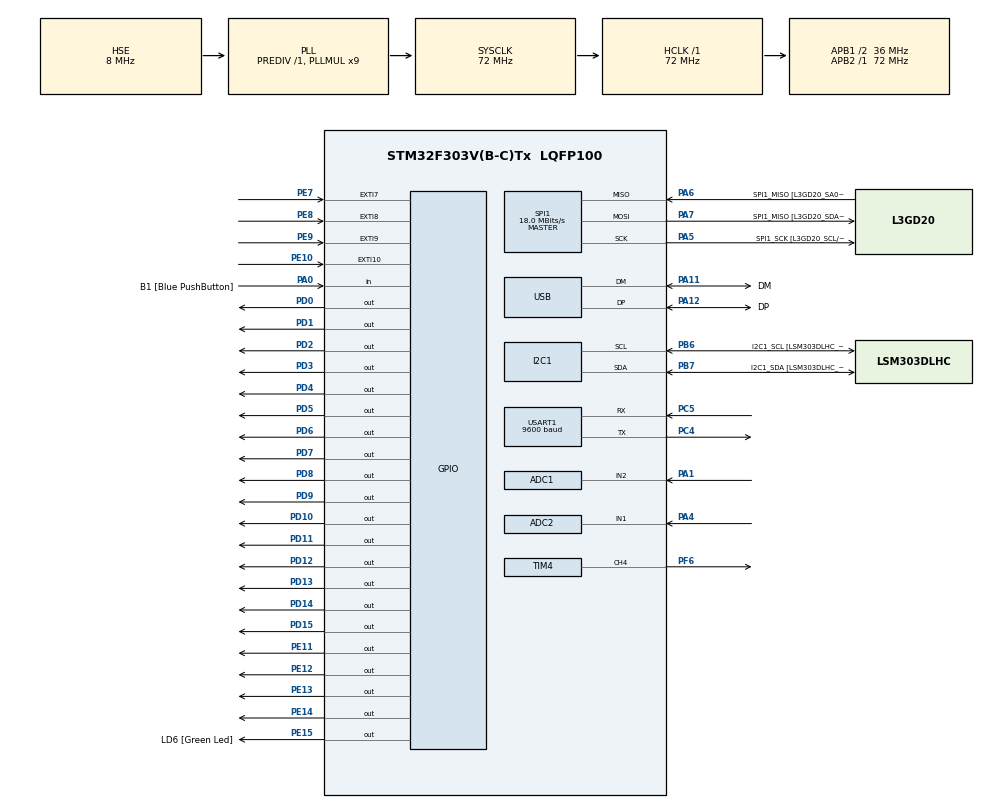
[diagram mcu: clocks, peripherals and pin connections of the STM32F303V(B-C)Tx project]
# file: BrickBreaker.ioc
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ADC1.Channel-0\#ChannelRegularConversion=ADC_CHANNEL_2
ADC1.ClockPrescaler=ADC_CLOCK_SYNC_PCLK_DIV2
ADC1.NbrOfConversionFlag=1
ADC1.Offset-0\#ChannelRegularConversion=0
ADC1.OffsetNumber-0\#ChannelRegularConversion=ADC_OFFSET_NONE
ADC1.Rank-0\#ChannelRegularConversion=1
ADC1.SamplingTime-0\#ChannelRegularConversion=ADC_SAMPLETIME_181CYCLES_5
ADC1.master=1
ADC2.Channel-0\#ChannelRegularConversion=ADC_CHANNEL_1
ADC2.ClockPrescaler=ADC_CLOCK_SYNC_PCLK_DIV2
ADC2.NbrOfConversionFlag=1
ADC2.Offset-0\#ChannelRegularConversion=0
ADC2.OffsetNumber-0\#ChannelRegularConversion=ADC_OFFSET_NONE
ADC2.Rank-0\#ChannelRegularConversion=1
ADC2.SamplingTime-0\#ChannelRegularConversion=ADC_SAMPLETIME_181CYCLES_5
I2C1.Timing-I2C=0x2000090E
Mcu.Family=STM32F3
Mcu.Name=STM32F303V(B-C)Tx
Mcu.Package=LQFP100
NVIC.ADC1_2_IRQn=true\:0\:0\:false\:false\:true\:true\:true\:true
NVIC.EXTI15_10_IRQn=true\:0\:0\:false\:false\:true\:true\:true\:true
NVIC.EXTI9_5_IRQn=true\:0\:0\:false\:false\:true\:true\:true\:true
NVIC.PriorityGroup=NVIC_PRIORITYGROUP_0
NVIC.TIM1_UP_TIM16_IRQn=true\:0\:0\:false\:false\:true\:true\:true\:true
NVIC.TIM2_IRQn=true\:0\:0\:false\:false\:true\:true\:true\:true
NVIC.TIM3_IRQn=true\:0\:0\:false\:false\:true\:true\:true\:true
NVIC.USART1_IRQn=true\:0\:0\:false\:false\:true\:true\:true\:true
PA0.GPIO_Label=B1 [Blue PushButton]
PA0.Signal=GPIO_Input
PA1.Mode=IN2-Single-Ended
PA1.Signal=ADC1_IN2
PA11.GPIO_Label=DM
PA11.Mode=Device
PA11.Signal=USB_DM
PA12.GPIO_Label=DP
PA12.Mode=Device
PA12.Signal=USB_DP
PA13.GPIO_Label=SWDIO
PA13.Mode=Serial_Wire
PA13.Signal=SYS_JTMS-SWDIO
PA14.GPIO_Label=SWCLK
PA14.Mode=Serial_Wire
PA14.Signal=SYS_JTCK-SWCLK
PA4.Mode=IN1-Single-Ended
PA4.Signal=ADC2_IN1
PA5.GPIO_Label=SPI1_SCK [L3GD20_SCL/SPC]
PA5.Mode=Full_Duplex_Master
PA5.Signal=SPI1_SCK
PA6.GPIO_Label=SPI1_MISO [L3GD20_SA0/SDO]
PA6.Mode=Full_Duplex_Master
PA6.Signal=SPI1_MISO
PA7.GPIO_Label=SPI1_MISO [L3GD20_SDA/SDI/SDO]
PA7.Mode=Full_Duplex_Master
PA7.Signal=SPI1_MOSI
PB3.GPIO_Label=SWO
PB3.Signal=SYS_JTDO-TRACESWO
PB6.GPIO_Label=I2C1_SCL [LSM303DLHC_SCL]
PB6.GPIO_Pu=GPIO_PULLUP
PB6.Mode=I2C
PB6.Signal=I2C1_SCL
PB7.GPIO_Label=I2C1_SDA [LSM303DLHC_SDA]
PB7.GPIO_Pu=GPIO_PULLUP
PB7.Mode=I2C
PB7.Signal=I2C1_SDA
PC14-OSC32_IN.GPIO_Label=OSC32_IN
PC14-OSC32_IN.Signal=RCC_OSC32_IN
PC15-OSC32_OUT.GPIO_Label=OSC32_OUT
PC15-OSC32_OUT.Signal=RCC_OSC32_OUT
PC4.Mode=Asynchronous
PC4.Signal=USART1_TX
PC5.Mode=Asynchronous
PC5.Signal=USART1_RX
PD0.Signal=GPIO_Output
PD1.Signal=GPIO_Output
PD10.Signal=GPIO_Output
PD11.Signal=GPIO_Output
PD12.Signal=GPIO_Output
PD13.Signal=GPIO_Output
PD14.Signal=GPIO_Output
PD15.Signal=GPIO_Output
PD2.Signal=GPIO_Output
PD3.Signal=GPIO_Output
PD4.Signal=GPIO_Output
PD5.Signal=GPIO_Output
PD6.Signal=GPIO_Output
PD7.Signal=GPIO_Output
PD8.Signal=GPIO_Output
PD9.Signal=GPIO_Output
PE10.GPIO_PuPd=GPIO_PULLDOWN
PE10.Signal=GPXTI10
PE11.Signal=GPIO_Output
PE12.Signal=GPIO_Output
PE13.Signal=GPIO_Output
PE14.Signal=GPIO_Output
PE15.GPIO_Label=LD6 [Green Led]
PE15.Signal=GPIO_Output
PE7.GPIO_PuPd=GPIO_PULLDOWN
PE7.Signal=GPXTI7
PE8.GPIO_PuPd=GPIO_PULLDOWN
PE8.Signal=GPXTI8
PE9.GPIO_PuPd=GPIO_PULLDOWN
PE9.Signal=GPXTI9
PF0-OSC_IN.GPIO_Label=OSC_IN
PF0-OSC_IN.Mode=HSE-External-Clock-Source
PF0-OSC_IN.Signal=RCC_OSC_IN
PF1-OSC_OUT.GPIO_Label=OSC_OUT
PF1-OSC_OUT.Signal=RCC_OSC_OUT
PF6.Signal=S_TIM4_CH4
ProjectManager.HeapSize=0x200
ProjectManager.StackSize=0x400
ProjectManager.TargetToolchain=STM32CubeIDE
RCC.AHBFreq_Value=72000000
RCC.APB1CLKDivider=RCC_HCLK_DIV2
RCC.APB1Freq_Value=36000000
RCC.APB1TimFreq_Value=72000000
RCC.APB2Freq_Value=72000000
RCC.APB2TimFreq_Value=72000000
RCC.CortexFreq_Value=72000000
RCC.HCLKFreq_Value=72000000
RCC.HSE_VALUE=8000000
RCC.HSI_VALUE=8000000
RCC.LSE_VALUE=32768
RCC.PLLMUL=RCC_PLL_MUL9
RCC.PRESCALERUSB=RCC_USBCLKSOURCE_PLL_DIV1_5
RCC.SYSCLKFreq_VALUE=72000000
RCC.SYSCLKSourceVirtual=RCC_SYSCLKSOURCE_PLLCLK
RCC.USBFreq_Value=48000000
RTC.AsynchPrediv=40-1
RTC.SynchPrediv=1000-1
SH.S_TIM4_CH4.0=TIM4_CH4,PWM Generation4 CH4
SPI1.BaudRatePrescaler=SPI_BAUDRATEPRESCALER_4
SPI1.BaudRatePrescaler-Full_Duplex_Master=SPI_BAUDRATEPRESCALER_2
SPI1.CalculateBaudRate=18.0 MBits/s
SPI1.CalculateBaudRate-Full_Duplex_Master=24.0 MBits/s
SPI1.Direction=SPI_DIRECTION_2LINES
SPI1.Mode=SPI_MODE_MASTER
SPI1.Mode-Full_Duplex_Master=SPI_MODE_MASTER
SPI1.VirtualType=VM_MASTER
TIM1.Period=100-1
TIM1.Prescaler=720-1
TIM2.Period=500-1
TIM2.Prescaler=720-1
TIM3.Period=1000-1
TIM3.Prescaler=720-1
TIM4.Channel-PWM\ Generation4\ CH4=TIM_CHANNEL_4
TIM4.Period=10-1
TIM4.Prescaler=720-1
USART1.BaudRate=9600
USART1.VirtualMode-Asynchronous=VM_ASYNC
VP_RTC_VS_RTC_Activate.Mode=RTC_Enabled
VP_RTC_VS_RTC_Calendar.Mode=RTC_Calendar
VP_TIM1_VS_ClockSourceINT.Mode=Internal
VP_TIM2_VS_ClockSourceINT.Mode=Internal
VP_TIM3_VS_ClockSourceINT.Mode=Internal
VP_TIM4_VS_ClockSourceINT.Mode=Internal
board=STM32F3DISCOVERY

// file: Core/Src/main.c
/* USER CODE BEGIN Header */
/**
  ******************************************************************************
  * @file           : main.c
  * @brief          : Main program body
  ******************************************************************************
  * @attention
  *
  * Copyright (c) 2025 STMicroelectronics.
  * All rights reserved.
  *
  * This software is licensed under terms that can be found in the LICENSE file
  * in the root directory of this software component.
  * If no LICENSE file comes with this software, it is provided AS-IS.
  *
  ******************************************************************************
  */
/* USER CODE END Header */
#include "main.h"

/* USER CODE BEGIN Includes */
#include "LiquidCrystal.h"

#include <string.h>

#include "game_loop.h"
#include "config.h"

#include "view_main_menu.h"
#include "view_exit_game.h"
#include "view_start.h"
#include "view_about.h"
#include "view_settings.h"
#include "view_user.h"

#include "rtc.h"
#include "sevseg.h"
#include "music.h"
/* USER CODE END Includes */

/* USER CODE BEGIN PTD */

typedef enum {
	PADDLE_MOVEMENT_KEYPAD,
	PADDLE_MOVEMENT_VOLUME
}Paddle_Movement_State;

/* USER CODE END PTD */

/* USER CODE BEGIN PD */

#define BUFFER_SIZE 100

/* USER CODE END PD */

ADC_HandleTypeDef hadc1;
ADC_HandleTypeDef hadc2;

I2C_HandleTypeDef hi2c1;

RTC_HandleTypeDef hrtc;

SPI_HandleTypeDef hspi1;

TIM_HandleTypeDef htim1;
TIM_HandleTypeDef htim2;
TIM_HandleTypeDef htim3;
TIM_HandleTypeDef htim4;

UART_HandleTypeDef huart1;

PCD_HandleTypeDef hpcd_USB_FS;

void SystemClock_Config(void);
static void MX_GPIO_Init(void);
static void MX_I2C1_Init(void);
static void MX_SPI1_Init(void);
static void MX_USB_PCD_Init(void);
static void MX_USART1_UART_Init(void);
static void MX_ADC1_Init(void);
static void MX_RTC_Init(void);
static void MX_ADC2_Init(void);
static void MX_TIM1_Init(void);
static void MX_TIM4_Init(void);
static void MX_TIM2_Init(void);
static void MX_TIM3_Init(void);

/* USER CODE BEGIN 0 */

//////////////////////////////////////// Global Vars & Functions

Main_State tmp_state, main_state = MS_START_PROGRAM;
Settings_State settings_state = NO_SELECTED_ITEM;
Paddle_Movement_State paddle_movement_state = PADDLE_MOVEMENT_KEYPAD;

char curr_user[12];

int8_t new_menu_index = 0, menu_index = 0;

Paddle *tmp_paddle;

uint32_t max_vol = 4050;
uint32_t min_vol = 0;
uint32_t vol = 0;

/////////////////////////////////////// 7_Seg

void sev_seg_callback(int index, char text[]) {
	Game_Info *tmp = get_game_info();
	sprintf(text, "%03d%d", tmp->score, tmp->health);

	if (index == 2) {
		setFloatingPoint();
	} else {
		resetFloatingPoint();
	}
}

/////////////////////////////////////// UART

uint8_t received_char;
uint8_t uart_buffer[BUFFER_SIZE + 1];

int str_starts_with(uint8_t *str, char *prefix) {
	if (str == NULL || prefix == NULL) {
			return false; // Handle NULL inputs
	}

	while (*prefix != '\0' && *str == *prefix) {
			str++;
			prefix++;
	}

	return *prefix == '\0';
}

void uart_command_handler(uint8_t buffer[]) {
	if (str_starts_with(buffer, "Connect")) {
		tmp_state = main_state;
		main_state = MS_REQUEST_RTC;

	} else if (str_starts_with(buffer, "RTC-")) {
		rtc_set_time_date(&(buffer[4]));
		main_state = MS_REQUEST_CONFIG;

	} else if (str_starts_with(buffer, "CONFIG-")) {
		config_load(&(buffer[7]));

	} else {
		switch(main_state) {
			case MS_START_PROGRAM_VIEW:
				strcpy(curr_user, buffer);
				curr_user[strlen(curr_user)-1] = 0;
				main_state = MS_MAIN_MENU;
				break;
		}
	}
}

void HAL_UART_RxCpltCallback(UART_HandleTypeDef *huart)
{

	static int last_char_index = 0;

	if (huart->Instance == USART1)
	{
		if (received_char == '\n') {
			uart_buffer[last_char_index] = '\0';

			uart_command_handler(uart_buffer);

			last_char_index = 0;

		} else if (last_char_index < BUFFER_SIZE) {
			uart_buffer[last_char_index++] = received_char;
		}

		HAL_UART_Receive_IT(&huart1, &received_char, 1);
	}
}

/////////////////////////////////////// ADC

void HAL_ADC_ConvCpltCallback(ADC_HandleTypeDef *hadc)
{
	if (hadc->Instance == ADC2)
	{
		vol = HAL_ADC_GetValue(&hadc2);

		HAL_ADC_Start_IT(&hadc2);
	}
}

//////////////////////////////////////// Timers

void HAL_TIM_PeriodElapsedCallback(TIM_HandleTypeDef *htim)
{
	if (htim->Instance == TIM1) { // 1ms
		playing();

	} else if (htim->Instance == TIM2) { // 5ms
		if (main_state == MS_GAME_LOOP) {
			show_text(sev_seg_callback);
		}

	} else if (htim->Instance == TIM3) { // 100ms
//		char stmp[6];
//		snprintf(stmp, 6, "%u\n", vol);
//		HAL_UART_Transmit(&huart1, stmp, strlen(stmp), 50);

		if (main_state == MS_GAME_LOOP && paddle_movement_state == PADDLE_MOVEMENT_VOLUME) {
			main_state = MS_PADDLE_MOVE_VOLUME;
		}
	}
}

//////////////////////////////////////// EXTI

void enter_btn_clicked() {
	noCursor();
	switch(main_state) {
		case MS_MAIN_MENU_VIEW:
			main_state = get_main_menu_curr_item();
			break;
		case MS_SETTINGS:
			if (settings_state == NO_SELECTED_ITEM) {
				settings_state = HAS_SELECTED_ITEM;
			} else {
				settings_state = NO_SELECTED_ITEM;
			}
			break;

		case MS_EXIT_MENU_VIEW:
			if (menu_index == 1) {
				main_state = MS_RESTART_CLICKED;
			} else {
				main_state = MS_EXIT_CLICKED;
			}
	}
}

void back_btn_clicked() {
	noCursor();
	switch(main_state) {
		case MS_SETTINGS:
			if (settings_state == NO_SELECTED_ITEM) {
				main_state = MS_MAIN_MENU;
			}
			break;
		case MS_ABOUT:
			main_state = MS_MAIN_MENU;
			break;
		case MS_GAME_LOOP:
			pause_music();
			clear7seg();
			main_state = MS_MAIN_MENU;
			set_main_menu_items_state(MAIN_MENU_ITEMS_FULL);
			break;
		default:
			main_state = MS_MAIN_MENU;
	}
}

/*
 * 1:  menu-up
 * 5:  menu_down
 * 9:  back
 * 13: enter
 *
 * 2: increase value
 * 6: decrease
 *
 * 14: change paddle movement tool
 * 15: paddle left
 * 16: paddle right
 */

void keypad_handler(unsigned int key_num) {
	switch (key_num) {
		case 1:
			new_menu_index = menu_index - 1;

			tmp_state = main_state;
			main_state = MS_NEW_MENU_INDEX;
			break;
		case 2:
			if (settings_state == HAS_SELECTED_ITEM) {
				if (menu_index == 0) {
					config_setInitialHealth(config_getInitialHealth() + 1);
				} else {
					config_setBrickRows(config_getBrickRows() + 1);
				}
			}
			break;
		case 3:
			break;
		case 4:
			break;
		case 5:
			new_menu_index = menu_index + 1;

			tmp_state = main_state;
			main_state = MS_NEW_MENU_INDEX;
			break;
		case 6:
			if (settings_state == HAS_SELECTED_ITEM) {
				if (menu_index == 0) {
					config_setInitialHealth(config_getInitialHealth() - 1);
				} else {
					config_setBrickRows(config_getBrickRows() - 1);
				}
			}
			break;
		case 7:
			break;
		case 8:
			break;
		case 9:
			tmp_state = main_state;
			main_state = MS_BACK_CLICKED;
			break;
		case 10:
			break;
		case 11:
			break;
		case 12:
			break;
		case 13:
			tmp_state = main_state;
			main_state = MS_ENTER_CLICKED;
			break;
		case 14:
			if (main_state == MS_GAME_LOOP) {
				if (paddle_movement_state == PADDLE_MOVEMENT_KEYPAD) {
					paddle_movement_state = PADDLE_MOVEMENT_VOLUME;
				} else {
					paddle_movement_state = PADDLE_MOVEMENT_KEYPAD;
				}
			}
			break;
		case 15:
			if (main_state == MS_GAME_LOOP && paddle_movement_state == PADDLE_MOVEMENT_KEYPAD) {
				main_state = MS_PADDLE_MOVE_LEFT;
			}
			break;
		case 16:
			if (main_state == MS_GAME_LOOP && paddle_movement_state == PADDLE_MOVEMENT_KEYPAD) {
				main_state = MS_PADDLE_MOVE_RIGHT;
			}
			break;
	}
}

void HAL_GPIO_EXTI_Callback(uint16_t GPIO_Pin)
{
    keypad_EXTI_callback(GPIO_Pin, keypad_handler);
}

/* USER CODE END 0 */

int main(void)
{

  /* MCU Configuration--------------------------------------------------------*/

  /* Reset of all peripherals, Initializes the Flash interface and the Systick. */
  HAL_Init();

  /* Configure the system clock */
  SystemClock_Config();

  /* Initialize all configured peripherals */
  MX_GPIO_Init();
  MX_I2C1_Init();
  MX_SPI1_Init();
  MX_USB_PCD_Init();
  MX_USART1_UART_Init();
  MX_ADC1_Init();
  MX_RTC_Init();
  MX_ADC2_Init();
  MX_TIM1_Init();
  MX_TIM4_Init();
  MX_TIM2_Init();
  MX_TIM3_Init();
  /* USER CODE BEGIN 2 */

  HAL_ADC_Start(&hadc1);
  HAL_ADC_PollForConversion(&hadc1, 10);
  srand(HAL_ADC_GetValue(&hadc1));

  HAL_ADC_Start_IT(&hadc2);

  HAL_TIM_PWM_Start(&htim4, TIM_CHANNEL_4);

  HAL_TIM_Base_Start_IT(&htim1);
  HAL_TIM_Base_Start_IT(&htim2);
  HAL_TIM_Base_Start_IT(&htim3);

  HAL_UART_Receive_IT(&huart1, &received_char, 1);

  LiquidCrystal(GPIOD, GPIO_PIN_0, GPIO_PIN_1, GPIO_PIN_2, GPIO_PIN_3, GPIO_PIN_4, GPIO_PIN_5, GPIO_PIN_6);

  rtc_init(&hrtc, &huart1);
  config_init(&huart1);
  init_music(&htim4);
  createChars();
  setCursor(0, 0);
  setup_keypad();

  set_new_music_str("A4:200/B4:200");
//  MorSahar: "G3:1000/C4:550/REST:50/C4:550/REST:50/C4:750/REST:50/C4:600/A3:500/B3:1000/C4:1000"

  get_game_info()->max_score = 0;

  char stmp[5];

  /* USER CODE END 2 */

  /* Infinite loop */
  while (1) {

    /* USER CODE BEGIN 3 */

  	switch(main_state) {
  		case MS_START_PROGRAM:
  			show_start();
  			main_state = MS_START_PROGRAM_VIEW;
  			break;

  			// ------------------

  		case MS_MAIN_MENU:
  			view_main_menu_show(curr_user);
  			menu_index = 0;
  			main_state = MS_MAIN_MENU_VIEW;
  			break;
  		case MS_MAIN_MENU_VIEW:
  			menu_index = view_main_menu_handler(menu_index);
  			break;

  		case MS_USER_CLICKED:
  			menu_index = 0;
  			view_user_show(curr_user, get_game_info()->max_score);
  			main_state = MS_USER;
  			break;
  		case MS_USER:
  			view_user_handler(menu_index);
  			break;

  		case MS_RESUME_CLICKED:
  			game_elements_draw();
  			main_state = MS_GAME_TIMER;
  			break;

  		case MS_START_GAME_CLICKED:
  			game_elements_init(-1, -1);
  			game_elements_draw();
  			main_state = MS_GAME_TIMER;
  			break;

  		case MS_SETTINGS_CLICKED:
  			menu_index = 0;
  			view_settings_show();
  			main_state = MS_SETTINGS;
  			break;
  		case MS_SETTINGS:
  			menu_index = view_settings_handler(menu_index, settings_state);
  			break;

  		case MS_ABOUT_CLICKED:
  			menu_index = 0;
  			view_about_show();
  			main_state = MS_ABOUT;
  			break;
  		case MS_ABOUT:
  			view_about_handler(menu_index);
  			break;

  		// ----------------

  		case MS_GAME_LOOP:
  			if (game_loop() != GAME_RESUME) {
  				pause_music();
  				clear7seg();
  				main_state = MS_EXIT_MENU;

  				if (get_game_info()->score > get_game_info()->max_score) {
  					get_game_info()->max_score = get_game_info()->score;
					}
  			}
  			break;

  		case MS_PADDLE_MOVE_LEFT:
				tmp_paddle = get_game_paddle();
				paddle_update(tmp_paddle, tmp_paddle->x - 1, 0, 3);

				main_state = MS_GAME_LOOP;
  			break;
  		case MS_PADDLE_MOVE_RIGHT:
				tmp_paddle = get_game_paddle();
				paddle_update(tmp_paddle, tmp_paddle->x + 1, 0, 3);

				main_state = MS_GAME_LOOP;
  			break;

  		case MS_PADDLE_MOVE_VOLUME:
//  			snprintf(stmp, 5, "%u\n", vol);
//  			HAL_UART_Transmit(&huart1, stmp, strlen(stmp), 50);
  			paddle_update(get_game_paddle(), vol, 0, 3200);

  			main_state = MS_GAME_LOOP;
  			break;

  		// ----------------

  		case MS_EXIT_MENU:
  			view_exit_game_show(get_game_info()->score);
  			main_state = MS_EXIT_MENU_VIEW;
  			menu_index = 1;
  			break;
  		case MS_EXIT_MENU_VIEW:
  			menu_index = view_exit_game_handler(menu_index);
  			break;

  		case MS_RESTART_CLICKED:
  			main_state = MS_START_GAME_CLICKED;
  			break;
  		case MS_EXIT_CLICKED:
  			set_main_menu_items_state(MAIN_MENU_ITEMS_WITHOUT_RESUME);
  			main_state = MS_MAIN_MENU;
  			break;

  		// ----------------

  		case MS_NEW_MENU_INDEX:
  			menu_index = new_menu_index;
  			main_state = tmp_state;
  			break;
  		case MS_ENTER_CLICKED:
  			main_state = tmp_state;
  			enter_btn_clicked();
  			break;
  		case MS_BACK_CLICKED:
  			main_state = tmp_state;
  			back_btn_clicked();
  			break;

  		case MS_REQUEST_RTC:
  			main_state = MS_PENDING;
  			rtc_request_uart();
  			break;
  		case MS_REQUEST_CONFIG:
  			main_state = tmp_state;
  			config_request_uart();
  			break;
  		case MS_PENDING:
  			break;
  		case MS_GAME_TIMER:
  			if (start_game_timer()) {
  				main_state = MS_GAME_LOOP;
  			}
  			break;
  	}

  }
  /* USER CODE END 3 */
}

void SystemClock_Config(void)
{
  RCC_OscInitTypeDef RCC_OscInitStruct = {0};
  RCC_ClkInitTypeDef RCC_ClkInitStruct = {0};
  RCC_PeriphCLKInitTypeDef PeriphClkInit = {0};

  /** Initializes the RCC Oscillators according to the specified parameters
  * in the RCC_OscInitTypeDef structure.
  */
  RCC_OscInitStruct.OscillatorType = RCC_OSCILLATORTYPE_HSI|RCC_OSCILLATORTYPE_LSI
                              |RCC_OSCILLATORTYPE_HSE;
  RCC_OscInitStruct.HSEState = RCC_HSE_BYPASS;
  RCC_OscInitStruct.HSEPredivValue = RCC_HSE_PREDIV_DIV1;
  RCC_OscInitStruct.HSIState = RCC_HSI_ON;
  RCC_OscInitStruct.HSICalibrationValue = RCC_HSICALIBRATION_DEFAULT;
  RCC_OscInitStruct.LSIState = RCC_LSI_ON;
  RCC_OscInitStruct.PLL.PLLState = RCC_PLL_ON;
  RCC_OscInitStruct.PLL.PLLSource = RCC_PLLSOURCE_HSE;
  RCC_OscInitStruct.PLL.PLLMUL = RCC_PLL_MUL9;
  if (HAL_RCC_OscConfig(&RCC_OscInitStruct) != HAL_OK)
  {
    Error_Handler();
  }

  /** Initializes the CPU, AHB and APB buses clocks
  */
  RCC_ClkInitStruct.ClockType = RCC_CLOCKTYPE_HCLK|RCC_CLOCKTYPE_SYSCLK
                              |RCC_CLOCKTYPE_PCLK1|RCC_CLOCKTYPE_PCLK2;
  RCC_ClkInitStruct.SYSCLKSource = RCC_SYSCLKSOURCE_PLLCLK;
  RCC_ClkInitStruct.AHBCLKDivider = RCC_SYSCLK_DIV1;
  RCC_ClkInitStruct.APB1CLKDivider = RCC_HCLK_DIV2;
  RCC_ClkInitStruct.APB2CLKDivider = RCC_HCLK_DIV1;

  if (HAL_RCC_ClockConfig(&RCC_ClkInitStruct, FLASH_LATENCY_2) != HAL_OK)
  {
    Error_Handler();
  }
  PeriphClkInit.PeriphClockSelection = RCC_PERIPHCLK_USB|RCC_PERIPHCLK_USART1
                              |RCC_PERIPHCLK_I2C1|RCC_PERIPHCLK_RTC
                              |RCC_PERIPHCLK_TIM1;
  PeriphClkInit.Usart1ClockSelection = RCC_USART1CLKSOURCE_PCLK2;
  PeriphClkInit.I2c1ClockSelection = RCC_I2C1CLKSOURCE_HSI;
  PeriphClkInit.RTCClockSelection = RCC_RTCCLKSOURCE_LSI;
  PeriphClkInit.USBClockSelection = RCC_USBCLKSOURCE_PLL_DIV1_5;
  PeriphClkInit.Tim1ClockSelection = RCC_TIM1CLK_HCLK;
  if (HAL_RCCEx_PeriphCLKConfig(&PeriphClkInit) != HAL_OK)
  {
    Error_Handler();
  }
}

static void MX_ADC1_Init(void)
{

  ADC_MultiModeTypeDef multimode = {0};
  ADC_ChannelConfTypeDef sConfig = {0};

  /** Common config
  */
  hadc1.Instance = ADC1;
  hadc1.Init.ClockPrescaler = ADC_CLOCK_SYNC_PCLK_DIV2;
  hadc1.Init.Resolution = ADC_RESOLUTION_12B;
  hadc1.Init.ScanConvMode = ADC_SCAN_DISABLE;
  hadc1.Init.ContinuousConvMode = DISABLE;
  hadc1.Init.DiscontinuousConvMode = DISABLE;
  hadc1.Init.ExternalTrigConvEdge = ADC_EXTERNALTRIGCONVEDGE_NONE;
  hadc1.Init.ExternalTrigConv = ADC_SOFTWARE_START;
  hadc1.Init.DataAlign = ADC_DATAALIGN_RIGHT;
  hadc1.Init.NbrOfConversion = 1;
  hadc1.Init.DMAContinuousRequests = DISABLE;
  hadc1.Init.EOCSelection = ADC_EOC_SINGLE_CONV;
  hadc1.Init.LowPowerAutoWait = DISABLE;
  hadc1.Init.Overrun = ADC_OVR_DATA_OVERWRITTEN;
  if (HAL_ADC_Init(&hadc1) != HAL_OK)
  {
    Error_Handler();
  }

  /** Configure the ADC multi-mode
  */
  multimode.Mode = ADC_MODE_INDEPENDENT;
  if (HAL_ADCEx_MultiModeConfigChannel(&hadc1, &multimode) != HAL_OK)
  {
    Error_Handler();
  }

  /** Configure Regular Channel
  */
  sConfig.Channel = ADC_CHANNEL_2;
  sConfig.Rank = ADC_REGULAR_RANK_1;
  sConfig.SingleDiff = ADC_SINGLE_ENDED;
  sConfig.SamplingTime = ADC_SAMPLETIME_181CYCLES_5;
  sConfig.OffsetNumber = ADC_OFFSET_NONE;
  sConfig.Offset = 0;
  if (HAL_ADC_ConfigChannel(&hadc1, &sConfig) != HAL_OK)
  {
    Error_Handler();
  }

}

static void MX_ADC2_Init(void)
{

  ADC_ChannelConfTypeDef sConfig = {0};

  /** Common config
  */
  hadc2.Instance = ADC2;
  hadc2.Init.ClockPrescaler = ADC_CLOCK_SYNC_PCLK_DIV2;
  hadc2.Init.Resolution = ADC_RESOLUTION_12B;
  hadc2.Init.ScanConvMode = ADC_SCAN_DISABLE;
  hadc2.Init.ContinuousConvMode = DISABLE;
  hadc2.Init.DiscontinuousConvMode = DISABLE;
  hadc2.Init.ExternalTrigConvEdge = ADC_EXTERNALTRIGCONVEDGE_NONE;
  hadc2.Init.ExternalTrigConv = ADC_SOFTWARE_START;
  hadc2.Init.DataAlign = ADC_DATAALIGN_RIGHT;
  hadc2.Init.NbrOfConversion = 1;
  hadc2.Init.DMAContinuousRequests = DISABLE;
  hadc2.Init.EOCSelection = ADC_EOC_SINGLE_CONV;
  hadc2.Init.LowPowerAutoWait = DISABLE;
  hadc2.Init.Overrun = ADC_OVR_DATA_OVERWRITTEN;
  if (HAL_ADC_Init(&hadc2) != HAL_OK)
  {
    Error_Handler();
  }

  /** Configure Regular Channel
  */
  sConfig.Channel = ADC_CHANNEL_1;
  sConfig.Rank = ADC_REGULAR_RANK_1;
  sConfig.SingleDiff = ADC_SINGLE_ENDED;
  sConfig.SamplingTime = ADC_SAMPLETIME_181CYCLES_5;
  sConfig.OffsetNumber = ADC_OFFSET_NONE;
  sConfig.Offset = 0;
  if (HAL_ADC_ConfigChannel(&hadc2, &sConfig) != HAL_OK)
  {
    Error_Handler();
  }

}

static void MX_I2C1_Init(void)
{

  hi2c1.Instance = I2C1;
  hi2c1.Init.Timing = 0x2000090E;
  hi2c1.Init.OwnAddress1 = 0;
  hi2c1.Init.AddressingMode = I2C_ADDRESSINGMODE_7BIT;
  hi2c1.Init.DualAddressMode = I2C_DUALADDRESS_DISABLE;
  hi2c1.Init.OwnAddress2 = 0;
  hi2c1.Init.OwnAddress2Masks = I2C_OA2_NOMASK;
  hi2c1.Init.GeneralCallMode = I2C_GENERALCALL_DISABLE;
  hi2c1.Init.NoStretchMode = I2C_NOSTRETCH_DISABLE;
  if (HAL_I2C_Init(&hi2c1) != HAL_OK)
  {
    Error_Handler();
  }

  /** Configure Analogue filter
  */
  if (HAL_I2CEx_ConfigAnalogFilter(&hi2c1, I2C_ANALOGFILTER_ENABLE) != HAL_OK)
  {
    Error_Handler();
  }

  /** Configure Digital filter
  */
  if (HAL_I2CEx_ConfigDigitalFilter(&hi2c1, 0) != HAL_OK)
  {
    Error_Handler();
  }

}

static void MX_RTC_Init(void)
{

  RTC_TimeTypeDef sTime = {0};
  RTC_DateTypeDef sDate = {0};

  /** Initialize RTC Only
  */
  hrtc.Instance = RTC;
  hrtc.Init.HourFormat = RTC_HOURFORMAT_24;
  hrtc.Init.AsynchPrediv = 40-1;
  hrtc.Init.SynchPrediv = 1000-1;
  hrtc.Init.OutPut = RTC_OUTPUT_DISABLE;
  hrtc.Init.OutPutPolarity = RTC_OUTPUT_POLARITY_HIGH;
  hrtc.Init.OutPutType = RTC_OUTPUT_TYPE_OPENDRAIN;
  if (HAL_RTC_Init(&hrtc) != HAL_OK)
  {
    Error_Handler();
  }

  /** Initialize RTC and set the Time and Date
  */
  sTime.Hours = 0x0;
  sTime.Minutes = 0x0;
  sTime.Seconds = 0x0;
  sTime.DayLightSaving = RTC_DAYLIGHTSAVING_NONE;
  sTime.StoreOperation = RTC_STOREOPERATION_RESET;
  if (HAL_RTC_SetTime(&hrtc, &sTime, RTC_FORMAT_BCD) != HAL_OK)
  {
    Error_Handler();
  }
  sDate.WeekDay = RTC_WEEKDAY_MONDAY;
  sDate.Month = RTC_MONTH_JANUARY;
  sDate.Date = 0x1;
  sDate.Year = 0x0;

  if (HAL_RTC_SetDate(&hrtc, &sDate, RTC_FORMAT_BCD) != HAL_OK)
  {
    Error_Handler();
  }

}

static void MX_SPI1_Init(void)
{

  /* SPI1 parameter configuration*/
  hspi1.Instance = SPI1;
  hspi1.Init.Mode = SPI_MODE_MASTER;
  hspi1.Init.Direction = SPI_DIRECTION_2LINES;
  hspi1.Init.DataSize = SPI_DATASIZE_4BIT;
  hspi1.Init.CLKPolarity = SPI_POLARITY_LOW;
  hspi1.Init.CLKPhase = SPI_PHASE_1EDGE;
  hspi1.Init.NSS = SPI_NSS_SOFT;
  hspi1.Init.BaudRatePrescaler = SPI_BAUDRATEPRESCALER_4;
  hspi1.Init.FirstBit = SPI_FIRSTBIT_MSB;
  hspi1.Init.TIMode = SPI_TIMODE_DISABLE;
  hspi1.Init.CRCCalculation = SPI_CRCCALCULATION_DISABLE;
  hspi1.Init.CRCPolynomial = 7;
  hspi1.Init.CRCLength = SPI_CRC_LENGTH_DATASIZE;
  hspi1.Init.NSSPMode = SPI_NSS_PULSE_ENABLE;
  if (HAL_SPI_Init(&hspi1) != HAL_OK)
  {
    Error_Handler();
  }

}

static void MX_TIM1_Init(void)
{

  TIM_ClockConfigTypeDef sClockSourceConfig = {0};
  TIM_MasterConfigTypeDef sMasterConfig = {0};

  htim1.Instance = TIM1;
  htim1.Init.Prescaler = 720-1;
  htim1.Init.CounterMode = TIM_COUNTERMODE_UP;
  htim1.Init.Period = 100-1;
  htim1.Init.ClockDivision = TIM_CLOCKDIVISION_DIV1;
  htim1.Init.RepetitionCounter = 0;
  htim1.Init.AutoReloadPreload = TIM_AUTORELOAD_PRELOAD_DISABLE;
  if (HAL_TIM_Base_Init(&htim1) != HAL_OK)
  {
    Error_Handler();
  }
  sClockSourceConfig.ClockSource = TIM_CLOCKSOURCE_INTERNAL;
  if (HAL_TIM_ConfigClockSource(&htim1, &sClockSourceConfig) != HAL_OK)
  {
    Error_Handler();
  }
  sMasterConfig.MasterOutputTrigger = TIM_TRGO_RESET;
  sMasterConfig.MasterOutputTrigger2 = TIM_TRGO2_RESET;
  sMasterConfig.MasterSlaveMode = TIM_MASTERSLAVEMODE_DISABLE;
  if (HAL_TIMEx_MasterConfigSynchronization(&htim1, &sMasterConfig) != HAL_OK)
  {
    Error_Handler();
  }

}

static void MX_TIM2_Init(void)
{

  TIM_ClockConfigTypeDef sClockSourceConfig = {0};
  TIM_MasterConfigTypeDef sMasterConfig = {0};

  htim2.Instance = TIM2;
  htim2.Init.Prescaler = 720-1;
  htim2.Init.CounterMode = TIM_COUNTERMODE_UP;
  htim2.Init.Period = 500-1;
  htim2.Init.ClockDivision = TIM_CLOCKDIVISION_DIV1;
  htim2.Init.AutoReloadPreload = TIM_AUTORELOAD_PRELOAD_DISABLE;
  if (HAL_TIM_Base_Init(&htim2) != HAL_OK)
  {
    Error_Handler();
  }
  sClockSourceConfig.ClockSource = TIM_CLOCKSOURCE_INTERNAL;
  if (HAL_TIM_ConfigClockSource(&htim2, &sClockSourceConfig) != HAL_OK)
  {
    Error_Handler();
  }
  sMasterConfig.MasterOutputTrigger = TIM_TRGO_RESET;
  sMasterConfig.MasterSlaveMode = TIM_MASTERSLAVEMODE_DISABLE;
  if (HAL_TIMEx_MasterConfigSynchronization(&htim2, &sMasterConfig) != HAL_OK)
  {
    Error_Handler();
  }

}

static void MX_TIM3_Init(void)
{

  TIM_ClockConfigTypeDef sClockSourceConfig = {0};
  TIM_MasterConfigTypeDef sMasterConfig = {0};

  htim3.Instance = TIM3;
  htim3.Init.Prescaler = 720-1;
  htim3.Init.CounterMode = TIM_COUNTERMODE_UP;
  htim3.Init.Period = 1000-1;
  htim3.Init.ClockDivision = TIM_CLOCKDIVISION_DIV1;
  htim3.Init.AutoReloadPreload = TIM_AUTORELOAD_PRELOAD_DISABLE;
  if (HAL_TIM_Base_Init(&htim3) != HAL_OK)
  {
    Error_Handler();
  }
  sClockSourceConfig.ClockSource = TIM_CLOCKSOURCE_INTERNAL;
  if (HAL_TIM_ConfigClockSource(&htim3, &sClockSourceConfig) != HAL_OK)
  {
    Error_Handler();
  }
  sMasterConfig.MasterOutputTrigger = TIM_TRGO_RESET;
  sMasterConfig.MasterSlaveMode = TIM_MASTERSLAVEMODE_DISABLE;
  if (HAL_TIMEx_MasterConfigSynchronization(&htim3, &sMasterConfig) != HAL_OK)
  {
    Error_Handler();
  }

}

static void MX_TIM4_Init(void)
{

  TIM_ClockConfigTypeDef sClockSourceConfig = {0};
  TIM_MasterConfigTypeDef sMasterConfig = {0};
  TIM_OC_InitTypeDef sConfigOC = {0};

  htim4.Instance = TIM4;
  htim4.Init.Prescaler = 720-1;
  htim4.Init.CounterMode = TIM_COUNTERMODE_UP;
  htim4.Init.Period = 10-1;
  htim4.Init.ClockDivision = TIM_CLOCKDIVISION_DIV1;
  htim4.Init.AutoReloadPreload = TIM_AUTORELOAD_PRELOAD_DISABLE;
  if (HAL_TIM_Base_Init(&htim4) != HAL_OK)
  {
    Error_Handler();
  }
  sClockSourceConfig.ClockSource = TIM_CLOCKSOURCE_INTERNAL;
  if (HAL_TIM_ConfigClockSource(&htim4, &sClockSourceConfig) != HAL_OK)
  {
    Error_Handler();
  }
  if (HAL_TIM_PWM_Init(&htim4) != HAL_OK)
  {
    Error_Handler();
  }
  sMasterConfig.MasterOutputTrigger = TIM_TRGO_RESET;
  sMasterConfig.MasterSlaveMode = TIM_MASTERSLAVEMODE_DISABLE;
  if (HAL_TIMEx_MasterConfigSynchronization(&htim4, &sMasterConfig) != HAL_OK)
  {
    Error_Handler();
  }
  sConfigOC.OCMode = TIM_OCMODE_PWM1;
  sConfigOC.Pulse = 0;
  sConfigOC.OCPolarity = TIM_OCPOLARITY_HIGH;
  sConfigOC.OCFastMode = TIM_OCFAST_DISABLE;
  if (HAL_TIM_PWM_ConfigChannel(&htim4, &sConfigOC, TIM_CHANNEL_4) != HAL_OK)
  {
    Error_Handler();
  }
  HAL_TIM_MspPostInit(&htim4);

}

static void MX_USART1_UART_Init(void)
{

  huart1.Instance = USART1;
  huart1.Init.BaudRate = 9600;
  huart1.Init.WordLength = UART_WORDLENGTH_8B;
  huart1.Init.StopBits = UART_STOPBITS_1;
  huart1.Init.Parity = UART_PARITY_NONE;
  huart1.Init.Mode = UART_MODE_TX_RX;
  huart1.Init.HwFlowCtl = UART_HWCONTROL_NONE;
  huart1.Init.OverSampling = UART_OVERSAMPLING_16;
  huart1.Init.OneBitSampling = UART_ONE_BIT_SAMPLE_DISABLE;
  huart1.AdvancedInit.AdvFeatureInit = UART_ADVFEATURE_NO_INIT;
  if (HAL_UART_Init(&huart1) != HAL_OK)
  {
    Error_Handler();
  }

}

static void MX_USB_PCD_Init(void)
{

  hpcd_USB_FS.Instance = USB;
  hpcd_USB_FS.Init.dev_endpoints = 8;
  hpcd_USB_FS.Init.speed = PCD_SPEED_FULL;
  hpcd_USB_FS.Init.phy_itface = PCD_PHY_EMBEDDED;
  hpcd_USB_FS.Init.low_power_enable = DISABLE;
  hpcd_USB_FS.Init.battery_charging_enable = DISABLE;
  if (HAL_PCD_Init(&hpcd_USB_FS) != HAL_OK)
  {
    Error_Handler();
  }

}

static void MX_GPIO_Init(void)
{
  GPIO_InitTypeDef GPIO_InitStruct = {0};

  /* GPIO Ports Clock Enable */
  __HAL_RCC_GPIOC_CLK_ENABLE();
  __HAL_RCC_GPIOF_CLK_ENABLE();
  __HAL_RCC_GPIOA_CLK_ENABLE();
  __HAL_RCC_GPIOE_CLK_ENABLE();
  __HAL_RCC_GPIOD_CLK_ENABLE();
  __HAL_RCC_GPIOB_CLK_ENABLE();

  /*Configure GPIO pin Output Level */
  HAL_GPIO_WritePin(GPIOE, GPIO_PIN_11|GPIO_PIN_12|GPIO_PIN_13|GPIO_PIN_14
                          |LD6_Pin, GPIO_PIN_RESET);

  /*Configure GPIO pin Output Level */
  HAL_GPIO_WritePin(GPIOD, GPIO_PIN_8|GPIO_PIN_9|GPIO_PIN_10|GPIO_PIN_11
                          |GPIO_PIN_12|GPIO_PIN_13|GPIO_PIN_14|GPIO_PIN_15
                          |GPIO_PIN_0|GPIO_PIN_1|GPIO_PIN_2|GPIO_PIN_3
                          |GPIO_PIN_4|GPIO_PIN_5|GPIO_PIN_6|GPIO_PIN_7, GPIO_PIN_RESET);

  /*Configure GPIO pin : B1_Pin */
  GPIO_InitStruct.Pin = B1_Pin;
  GPIO_InitStruct.Mode = GPIO_MODE_INPUT;
  GPIO_InitStruct.Pull = GPIO_NOPULL;
  HAL_GPIO_Init(B1_GPIO_Port, &GPIO_InitStruct);

  /*Configure GPIO pins : PE7 PE8 PE9 PE10 */
  GPIO_InitStruct.Pin = GPIO_PIN_7|GPIO_PIN_8|GPIO_PIN_9|GPIO_PIN_10;
  GPIO_InitStruct.Mode = GPIO_MODE_IT_RISING;
  GPIO_InitStruct.Pull = GPIO_PULLDOWN;
  HAL_GPIO_Init(GPIOE, &GPIO_InitStruct);

  /*Configure GPIO pins : PE11 PE12 PE13 PE14
                           LD6_Pin */
  GPIO_InitStruct.Pin = GPIO_PIN_11|GPIO_PIN_12|GPIO_PIN_13|GPIO_PIN_14
                          |LD6_Pin;
  GPIO_InitStruct.Mode = GPIO_MODE_OUTPUT_PP;
  GPIO_InitStruct.Pull = GPIO_NOPULL;
  GPIO_InitStruct.Speed = GPIO_SPEED_FREQ_LOW;
  HAL_GPIO_Init(GPIOE, &GPIO_InitStruct);

  /*Configure GPIO pins : PD8 PD9 PD10 PD11
                           PD12 PD13 PD14 PD15
                           PD0 PD1 PD2 PD3
                           PD4 PD5 PD6 PD7 */
  GPIO_InitStruct.Pin = GPIO_PIN_8|GPIO_PIN_9|GPIO_PIN_10|GPIO_PIN_11
                          |GPIO_PIN_12|GPIO_PIN_13|GPIO_PIN_14|GPIO_PIN_15
                          |GPIO_PIN_0|GPIO_PIN_1|GPIO_PIN_2|GPIO_PIN_3
                          |GPIO_PIN_4|GPIO_PIN_5|GPIO_PIN_6|GPIO_PIN_7;
  GPIO_InitStruct.Mode = GPIO_MODE_OUTPUT_PP;
  GPIO_InitStruct.Pull = GPIO_NOPULL;
  GPIO_InitStruct.Speed = GPIO_SPEED_FREQ_LOW;
  HAL_GPIO_Init(GPIOD, &GPIO_InitStruct);

  /* EXTI interrupt init*/
  HAL_NVIC_SetPriority(EXTI9_5_IRQn, 0, 0);
  HAL_NVIC_EnableIRQ(EXTI9_5_IRQn);

  HAL_NVIC_SetPriority(EXTI15_10_IRQn, 0, 0);
  HAL_NVIC_EnableIRQ(EXTI15_10_IRQn);

}

void Error_Handler(void)
{
  __disable_irq();
  while (1)
  {
  }
}
